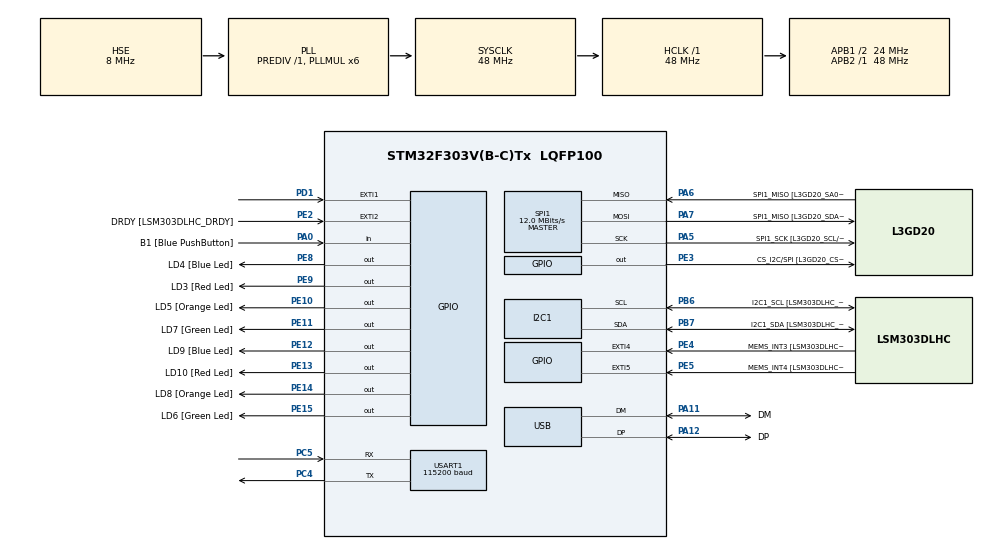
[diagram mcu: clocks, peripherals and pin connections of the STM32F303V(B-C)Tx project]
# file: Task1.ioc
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I2C1.Timing=0x00201D2B
I2C1.Timing-I2C=0x2000090E
Mcu.Family=STM32F3
Mcu.Name=STM32F303V(B-C)Tx
Mcu.Package=LQFP100
NVIC.PriorityGroup=NVIC_PRIORITYGROUP_0
NVIC.TIM2_IRQn=true\:0\:0\:false\:false\:true\:true\:true\:true
PA0.GPIO_Label=B1 [Blue PushButton]
PA0.Signal=GPIO_Input
PA11.GPIO_Label=DM
PA11.Mode=Device
PA11.Signal=USB_DM
PA12.GPIO_Label=DP
PA12.Mode=Device
PA12.Signal=USB_DP
PA13.GPIO_Label=SWDIO
PA13.Mode=Serial_Wire
PA13.Signal=SYS_JTMS-SWDIO
PA14.GPIO_Label=SWCLK
PA14.Mode=Serial_Wire
PA14.Signal=SYS_JTCK-SWCLK
PA5.GPIO_Label=SPI1_SCK [L3GD20_SCL/SPC]
PA5.Mode=Full_Duplex_Master
PA5.Signal=SPI1_SCK
PA6.GPIO_Label=SPI1_MISO [L3GD20_SA0/SDO]
PA6.Mode=Full_Duplex_Master
PA6.Signal=SPI1_MISO
PA7.GPIO_Label=SPI1_MISO [L3GD20_SDA/SDI/SDO]
PA7.Mode=Full_Duplex_Master
PA7.Signal=SPI1_MOSI
PB3.GPIO_Label=SWO
PB3.Signal=SYS_JTDO-TRACESWO
PB6.GPIO_Label=I2C1_SCL [LSM303DLHC_SCL]
PB6.GPIO_Pu=GPIO_PULLUP
PB6.Mode=I2C
PB6.Signal=I2C1_SCL
PB7.GPIO_Label=I2C1_SDA [LSM303DLHC_SDA]
PB7.GPIO_Pu=GPIO_PULLUP
PB7.Mode=I2C
PB7.Signal=I2C1_SDA
PC14-OSC32_IN.GPIO_Label=OSC32_IN
PC14-OSC32_IN.Signal=RCC_OSC32_IN
PC15-OSC32_OUT.GPIO_Label=OSC32_OUT
PC15-OSC32_OUT.Signal=RCC_OSC32_OUT
PC4.Mode=Asynchronous
PC4.Signal=USART1_TX
PC5.Mode=Asynchronous
PC5.Signal=USART1_RX
PD1.Signal=GPXTI1
PE10.GPIO_Label=LD5 [Orange Led]
PE10.Signal=GPIO_Output
PE11.GPIO_Label=LD7 [Green Led]
PE11.Signal=GPIO_Output
PE12.GPIO_Label=LD9 [Blue Led]
PE12.Signal=GPIO_Output
PE13.GPIO_Label=LD10 [Red Led]
PE13.Signal=GPIO_Output
PE14.GPIO_Label=LD8 [Orange Led]
PE14.Signal=GPIO_Output
PE15.GPIO_Label=LD6 [Green Led]
PE15.Signal=GPIO_Output
PE2.GPIO_Label=DRDY [LSM303DLHC_DRDY]
PE2.GPIO_ModeDefaultEXTI=GPIO_MODE_EVT_RISING
PE2.Signal=GPXTI2
PE3.GPIO_Label=CS_I2C/SPI [L3GD20_CS_I2C/SPI]
PE3.Signal=GPIO_Output
PE4.GPIO_Label=MEMS_INT3 [LSM303DLHC_INT1]
PE4.GPIO_ModeDefaultEXTI=GPIO_MODE_EVT_RISING
PE4.Signal=GPXTI4
PE5.GPIO_Label=MEMS_INT4 [LSM303DLHC_INT2]
PE5.GPIO_ModeDefaultEXTI=GPIO_MODE_EVT_RISING
PE5.Signal=GPXTI5
PE8.GPIO_Label=LD4 [Blue Led]
PE8.Signal=GPIO_Output
PE9.GPIO_Label=LD3 [Red Led]
PE9.Signal=GPIO_Output
PF0-OSC_IN.GPIO_Label=OSC_IN
PF0-OSC_IN.Mode=HSE-External-Clock-Source
PF0-OSC_IN.Signal=RCC_OSC_IN
PF1-OSC_OUT.GPIO_Label=OSC_OUT
PF1-OSC_OUT.Signal=RCC_OSC_OUT
ProjectManager.HeapSize=0x200
ProjectManager.StackSize=0x400
ProjectManager.TargetToolchain=CMake
RCC.AHBFreq_Value=48000000
RCC.APB1CLKDivider=RCC_HCLK_DIV2
RCC.APB1Freq_Value=24000000
RCC.APB1TimFreq_Value=48000000
RCC.APB2Freq_Value=48000000
RCC.APB2TimFreq_Value=48000000
RCC.CortexFreq_Value=48000000
RCC.HCLKFreq_Value=48000000
RCC.HSE_VALUE=8000000
RCC.HSI_VALUE=8000000
RCC.LSE_VALUE=32768
RCC.PLLMUL=RCC_PLL_MUL6
RCC.SYSCLKFreq_VALUE=48000000
RCC.SYSCLKSourceVirtual=RCC_SYSCLKSOURCE_PLLCLK
RCC.USBFreq_Value=48000000
SPI1.BaudRatePrescaler=SPI_BAUDRATEPRESCALER_4
SPI1.BaudRatePrescaler-Full_Duplex_Master=SPI_BAUDRATEPRESCALER_2
SPI1.CalculateBaudRate=12.0 MBits/s
SPI1.CalculateBaudRate-Full_Duplex_Master=24.0 MBits/s
SPI1.Direction=SPI_DIRECTION_2LINES
SPI1.Mode=SPI_MODE_MASTER
SPI1.Mode-Full_Duplex_Master=SPI_MODE_MASTER
SPI1.VirtualType=VM_MASTER
TIM2.Prescaler=9
USART1.BaudRate=115200
USART1.VirtualMode-Asynchronous=VM_ASYNC
VP_TIM2_VS_ClockSourceINT.Mode=Internal
board=STM32F3DISCOVERY

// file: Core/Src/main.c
/* USER CODE BEGIN Header */
/**
  ******************************************************************************
  * @file           : main.c
  * @brief          : Main program body
  ******************************************************************************
  * @attention
  *
  * Copyright (c) 2026 STMicroelectronics.
  * All rights reserved.
  *
  * This software is licensed under terms that can be found in the LICENSE file
  * in the root directory of this software component.
  * If no LICENSE file comes with this software, it is provided AS-IS.
  *
  ******************************************************************************
  */
/* USER CODE END Header */
#include "main.h"

/* USER CODE BEGIN Includes */
#include <stdio.h>
/* USER CODE END Includes */

/* USER CODE BEGIN PD */
#define SAMPLE_SIZE  16
/* USER CODE END PD */

I2C_HandleTypeDef hi2c1;

SPI_HandleTypeDef hspi1;

TIM_HandleTypeDef htim2;

UART_HandleTypeDef huart1;

PCD_HandleTypeDef hpcd_USB_FS;

/* USER CODE BEGIN PV */
volatile uint32_t capture_buf[SAMPLE_SIZE];
volatile uint8_t  capture_idx   = 0;
volatile uint8_t  timer_started = 0;
volatile uint8_t  print_flag    = 0;
/* USER CODE END PV */

void SystemClock_Config(void);
static void MX_GPIO_Init(void);
static void MX_I2C1_Init(void);
static void MX_SPI1_Init(void);
static void MX_TIM2_Init(void);
static void MX_USART1_UART_Init(void);
static void MX_USB_PCD_Init(void);

int main(void)
{

  /* MCU Configuration--------------------------------------------------------*/

  /* Reset of all peripherals, Initializes the Flash interface and the Systick. */
  HAL_Init();

  /* Configure the system clock */
  SystemClock_Config();

  /* Initialize all configured peripherals */
  MX_GPIO_Init();
  MX_I2C1_Init();
  MX_SPI1_Init();
  MX_TIM2_Init();
  MX_USART1_UART_Init();
  MX_USB_PCD_Init();
  /* USER CODE BEGIN 2 */
  HAL_NVIC_SetPriority(EXTI1_IRQn, 0, 0);
  HAL_NVIC_EnableIRQ(EXTI1_IRQn);
  /* USER CODE END 2 */

  /* Infinite loop */
  while (1)
  {

    /* USER CODE BEGIN 3 */
    HAL_Delay(100);
    if (print_flag)
    {
      print_flag = 0;

      uint32_t sum = 0;
      for (int i = 0; i < SAMPLE_SIZE; i++)
      {
        sum += capture_buf[i];
      }
      uint32_t avg = sum / SAMPLE_SIZE;

      float freq = 4800000.0f / (float)avg;

      float error = (avg > 1)
                    ? (4800000.0f / (float)(avg - 1) - freq)
                    : freq;

      char msg[80];
      int  len = snprintf(msg, sizeof(msg), "Freq: %.2f Hz +/- %.2f Hz\r\n", freq, error);
      HAL_UART_Transmit(&huart1, (uint8_t *)msg, (uint16_t)len, HAL_MAX_DELAY);
    }
  }
  /* USER CODE END 3 */
}

void SystemClock_Config(void)
{
  RCC_OscInitTypeDef RCC_OscInitStruct = {0};
  RCC_ClkInitTypeDef RCC_ClkInitStruct = {0};
  RCC_PeriphCLKInitTypeDef PeriphClkInit = {0};

  /** Initializes the RCC Oscillators according to the specified parameters
  * in the RCC_OscInitTypeDef structure.
  */
  RCC_OscInitStruct.OscillatorType = RCC_OSCILLATORTYPE_HSI|RCC_OSCILLATORTYPE_HSE;
  RCC_OscInitStruct.HSEState = RCC_HSE_BYPASS;
  RCC_OscInitStruct.HSEPredivValue = RCC_HSE_PREDIV_DIV1;
  RCC_OscInitStruct.HSIState = RCC_HSI_ON;
  RCC_OscInitStruct.HSICalibrationValue = RCC_HSICALIBRATION_DEFAULT;
  RCC_OscInitStruct.PLL.PLLState = RCC_PLL_ON;
  RCC_OscInitStruct.PLL.PLLSource = RCC_PLLSOURCE_HSE;
  RCC_OscInitStruct.PLL.PLLMUL = RCC_PLL_MUL6;
  if (HAL_RCC_OscConfig(&RCC_OscInitStruct) != HAL_OK)
  {
    Error_Handler();
  }

  /** Initializes the CPU, AHB and APB buses clocks
  */
  RCC_ClkInitStruct.ClockType = RCC_CLOCKTYPE_HCLK|RCC_CLOCKTYPE_SYSCLK
                              |RCC_CLOCKTYPE_PCLK1|RCC_CLOCKTYPE_PCLK2;
  RCC_ClkInitStruct.SYSCLKSource = RCC_SYSCLKSOURCE_PLLCLK;
  RCC_ClkInitStruct.AHBCLKDivider = RCC_SYSCLK_DIV1;
  RCC_ClkInitStruct.APB1CLKDivider = RCC_HCLK_DIV2;
  RCC_ClkInitStruct.APB2CLKDivider = RCC_HCLK_DIV1;

  if (HAL_RCC_ClockConfig(&RCC_ClkInitStruct, FLASH_LATENCY_1) != HAL_OK)
  {
    Error_Handler();
  }
  PeriphClkInit.PeriphClockSelection = RCC_PERIPHCLK_USB|RCC_PERIPHCLK_USART1
                              |RCC_PERIPHCLK_I2C1;
  PeriphClkInit.Usart1ClockSelection = RCC_USART1CLKSOURCE_PCLK2;
  PeriphClkInit.I2c1ClockSelection = RCC_I2C1CLKSOURCE_HSI;
  PeriphClkInit.USBClockSelection = RCC_USBCLKSOURCE_PLL;
  if (HAL_RCCEx_PeriphCLKConfig(&PeriphClkInit) != HAL_OK)
  {
    Error_Handler();
  }
}

static void MX_I2C1_Init(void)
{

  hi2c1.Instance = I2C1;
  hi2c1.Init.Timing = 0x00201D2B;
  hi2c1.Init.OwnAddress1 = 0;
  hi2c1.Init.AddressingMode = I2C_ADDRESSINGMODE_7BIT;
  hi2c1.Init.DualAddressMode = I2C_DUALADDRESS_DISABLE;
  hi2c1.Init.OwnAddress2 = 0;
  hi2c1.Init.OwnAddress2Masks = I2C_OA2_NOMASK;
  hi2c1.Init.GeneralCallMode = I2C_GENERALCALL_DISABLE;
  hi2c1.Init.NoStretchMode = I2C_NOSTRETCH_DISABLE;
  if (HAL_I2C_Init(&hi2c1) != HAL_OK)
  {
    Error_Handler();
  }

  /** Configure Analogue filter
  */
  if (HAL_I2CEx_ConfigAnalogFilter(&hi2c1, I2C_ANALOGFILTER_ENABLE) != HAL_OK)
  {
    Error_Handler();
  }

  /** Configure Digital filter
  */
  if (HAL_I2CEx_ConfigDigitalFilter(&hi2c1, 0) != HAL_OK)
  {
    Error_Handler();
  }

}

static void MX_SPI1_Init(void)
{

  /* SPI1 parameter configuration*/
  hspi1.Instance = SPI1;
  hspi1.Init.Mode = SPI_MODE_MASTER;
  hspi1.Init.Direction = SPI_DIRECTION_2LINES;
  hspi1.Init.DataSize = SPI_DATASIZE_4BIT;
  hspi1.Init.CLKPolarity = SPI_POLARITY_LOW;
  hspi1.Init.CLKPhase = SPI_PHASE_1EDGE;
  hspi1.Init.NSS = SPI_NSS_SOFT;
  hspi1.Init.BaudRatePrescaler = SPI_BAUDRATEPRESCALER_4;
  hspi1.Init.FirstBit = SPI_FIRSTBIT_MSB;
  hspi1.Init.TIMode = SPI_TIMODE_DISABLE;
  hspi1.Init.CRCCalculation = SPI_CRCCALCULATION_DISABLE;
  hspi1.Init.CRCPolynomial = 7;
  hspi1.Init.CRCLength = SPI_CRC_LENGTH_DATASIZE;
  hspi1.Init.NSSPMode = SPI_NSS_PULSE_ENABLE;
  if (HAL_SPI_Init(&hspi1) != HAL_OK)
  {
    Error_Handler();
  }

}

static void MX_TIM2_Init(void)
{

  TIM_ClockConfigTypeDef sClockSourceConfig = {0};
  TIM_MasterConfigTypeDef sMasterConfig = {0};

  htim2.Instance = TIM2;
  htim2.Init.Prescaler = 9;
  htim2.Init.CounterMode = TIM_COUNTERMODE_UP;
  htim2.Init.Period = 4294967295;
  htim2.Init.ClockDivision = TIM_CLOCKDIVISION_DIV1;
  htim2.Init.AutoReloadPreload = TIM_AUTORELOAD_PRELOAD_DISABLE;
  if (HAL_TIM_Base_Init(&htim2) != HAL_OK)
  {
    Error_Handler();
  }
  sClockSourceConfig.ClockSource = TIM_CLOCKSOURCE_INTERNAL;
  if (HAL_TIM_ConfigClockSource(&htim2, &sClockSourceConfig) != HAL_OK)
  {
    Error_Handler();
  }
  sMasterConfig.MasterOutputTrigger = TIM_TRGO_RESET;
  sMasterConfig.MasterSlaveMode = TIM_MASTERSLAVEMODE_DISABLE;
  if (HAL_TIMEx_MasterConfigSynchronization(&htim2, &sMasterConfig) != HAL_OK)
  {
    Error_Handler();
  }

}

static void MX_USART1_UART_Init(void)
{

  huart1.Instance = USART1;
  huart1.Init.BaudRate = 115200;
  huart1.Init.WordLength = UART_WORDLENGTH_8B;
  huart1.Init.StopBits = UART_STOPBITS_1;
  huart1.Init.Parity = UART_PARITY_NONE;
  huart1.Init.Mode = UART_MODE_TX_RX;
  huart1.Init.HwFlowCtl = UART_HWCONTROL_NONE;
  huart1.Init.OverSampling = UART_OVERSAMPLING_16;
  huart1.Init.OneBitSampling = UART_ONE_BIT_SAMPLE_DISABLE;
  huart1.AdvancedInit.AdvFeatureInit = UART_ADVFEATURE_NO_INIT;
  if (HAL_UART_Init(&huart1) != HAL_OK)
  {
    Error_Handler();
  }

}

static void MX_USB_PCD_Init(void)
{

  hpcd_USB_FS.Instance = USB;
  hpcd_USB_FS.Init.dev_endpoints = 8;
  hpcd_USB_FS.Init.speed = PCD_SPEED_FULL;
  hpcd_USB_FS.Init.phy_itface = PCD_PHY_EMBEDDED;
  hpcd_USB_FS.Init.low_power_enable = DISABLE;
  hpcd_USB_FS.Init.battery_charging_enable = DISABLE;
  if (HAL_PCD_Init(&hpcd_USB_FS) != HAL_OK)
  {
    Error_Handler();
  }

}

static void MX_GPIO_Init(void)
{
  GPIO_InitTypeDef GPIO_InitStruct = {0};

  /* GPIO Ports Clock Enable */
  __HAL_RCC_GPIOE_CLK_ENABLE();
  __HAL_RCC_GPIOC_CLK_ENABLE();
  __HAL_RCC_GPIOF_CLK_ENABLE();
  __HAL_RCC_GPIOA_CLK_ENABLE();
  __HAL_RCC_GPIOD_CLK_ENABLE();
  __HAL_RCC_GPIOB_CLK_ENABLE();

  /*Configure GPIO pin Output Level */
  HAL_GPIO_WritePin(GPIOE, CS_I2C_SPI_Pin|LD4_Pin|LD3_Pin|LD5_Pin
                          |LD7_Pin|LD9_Pin|LD10_Pin|LD8_Pin
                          |LD6_Pin, GPIO_PIN_RESET);

  /*Configure GPIO pins : DRDY_Pin MEMS_INT3_Pin MEMS_INT4_Pin */
  GPIO_InitStruct.Pin = DRDY_Pin|MEMS_INT3_Pin|MEMS_INT4_Pin;
  GPIO_InitStruct.Mode = GPIO_MODE_EVT_RISING;
  GPIO_InitStruct.Pull = GPIO_NOPULL;
  HAL_GPIO_Init(GPIOE, &GPIO_InitStruct);

  /*Configure GPIO pins : CS_I2C_SPI_Pin LD4_Pin LD3_Pin LD5_Pin
                           LD7_Pin LD9_Pin LD10_Pin LD8_Pin
                           LD6_Pin */
  GPIO_InitStruct.Pin = CS_I2C_SPI_Pin|LD4_Pin|LD3_Pin|LD5_Pin
                          |LD7_Pin|LD9_Pin|LD10_Pin|LD8_Pin
                          |LD6_Pin;
  GPIO_InitStruct.Mode = GPIO_MODE_OUTPUT_PP;
  GPIO_InitStruct.Pull = GPIO_NOPULL;
  GPIO_InitStruct.Speed = GPIO_SPEED_FREQ_LOW;
  HAL_GPIO_Init(GPIOE, &GPIO_InitStruct);

  /*Configure GPIO pin : B1_Pin */
  GPIO_InitStruct.Pin = B1_Pin;
  GPIO_InitStruct.Mode = GPIO_MODE_INPUT;
  GPIO_InitStruct.Pull = GPIO_NOPULL;
  HAL_GPIO_Init(B1_GPIO_Port, &GPIO_InitStruct);

  /*Configure GPIO pin : PD1 */
  GPIO_InitStruct.Pin = GPIO_PIN_1;
  GPIO_InitStruct.Mode = GPIO_MODE_IT_RISING;
  GPIO_InitStruct.Pull = GPIO_NOPULL;
  HAL_GPIO_Init(GPIOD, &GPIO_InitStruct);

}

/* USER CODE BEGIN 4 */
void HAL_GPIO_EXTI_Callback(uint16_t GPIO_Pin)
{
  if (GPIO_Pin == GPIO_PIN_1)
  {
    if (!timer_started)
    {
      htim2.Instance->CNT  = 0;
      htim2.Instance->CR1 |= TIM_CR1_CEN;
      timer_started = 1;
    }
    else
    {
      capture_buf[capture_idx++] = htim2.Instance->CNT;
      htim2.Instance->CNT = 0;

      if (capture_idx >= SAMPLE_SIZE)
      {
        htim2.Instance->CR1 &= ~TIM_CR1_CEN;
        print_flag    = 1;
        capture_idx   = 0;
        timer_started = 0;
      }
    }
  }
}
/* USER CODE END 4 */

void Error_Handler(void)
{
  __disable_irq();
  while (1)
  {
  }
}
